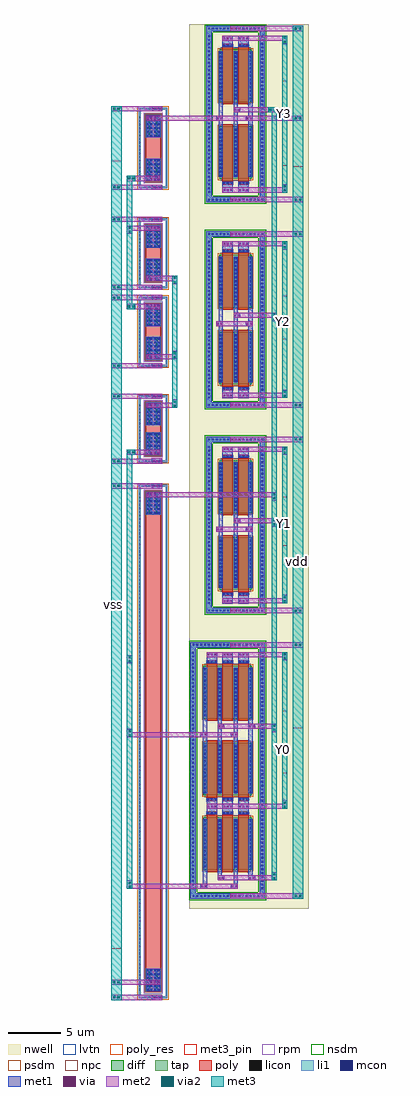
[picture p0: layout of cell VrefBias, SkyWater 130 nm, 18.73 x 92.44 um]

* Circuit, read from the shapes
.subckt VrefBias Y0 Y1 Y2 Y3 vdd vss
XM1 n1 Y0 n2 vdd sky130_fd_pr__pfet_01v8_lvt w=5 l=1 m=9
XM2 n1 Y1 n3 vdd sky130_fd_pr__pfet_01v8_lvt w=5 l=1 m=4
XM3 n1 Y2 n4 vdd sky130_fd_pr__pfet_01v8_lvt w=5 l=1 m=4
XM4 n1 Y3 vdd vdd sky130_fd_pr__pfet_01v8_lvt w=5 l=1 m=4
XR5 n1 vss vss sky130_fd_pr__res_high_po w=1.41 l=43
XR6 n5 n2 vss sky130_fd_pr__res_high_po w=1.41 l=0.7
XR7 n6 n5 vss sky130_fd_pr__res_high_po w=1.41 l=1 m=2
XR8 vdd n6 vss sky130_fd_pr__res_high_po w=1.41 l=2
.ends

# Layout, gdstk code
from math import pi, radians
import gdstk
lib = gdstk.Library(unit=1e-6, precision=5e-09)
def R(c, l, rs):  # rectangles x0, y0, x1, y1
    for r in rs: c.add(gdstk.rectangle(r[:2], r[2:], *l))
def A(c, l, x, y, w, h, nx, ny, dx, dy):  # array of equal rectangles
    R(c, l, [(x+i*dx, y+j*dy, x+i*dx+w, y+j*dy+h) for i in range(nx) for j in range(ny)])
def P(c, l, *ps):  # polygons
    for p in ps: c.add(gdstk.Polygon(p, *l))
nwell = (64, 20)
diff = (65, 20)
tap = (65, 44)
poly_res = (66, 13)
poly = (66, 20)
licon = (66, 44)
li1 = (67, 20)
mcon = (67, 44)
met1 = (68, 20)
via = (68, 44)
met2 = (69, 20)
via2 = (69, 44)
met3_pin = (70, 16)
met3 = (70, 20)
rpm = (86, 20)
nsdm = (93, 44)
psdm = (94, 20)
npc = (95, 20)
lvtn = (125, 44)

res_poly_2 = lib.new_cell('res_poly$2')
R(res_poly_2, tap, [(-1.355,-24.31,1.355,-24.14), (-1.355,-24.14,-1.185,24.14), (1.185,-24.14,1.355,24.14), (-1.355,24.14,1.355,24.31)])
R(res_poly_2, poly_res, [(-0.705,-21.56,0.705,21.56)])
R(res_poly_2, poly, [(-0.705,-23.66,0.705,23.66)])
A(res_poly_2, licon, -0.765, -24.31, 0.17, 0.17, 5, 2, 0.34, 48.45)
A(res_poly_2, licon, -1.355, -23.545, 0.17, 0.17, 1, 139, 0, 0.34)
A(res_poly_2, licon, 1.185, -23.545, 0.17, 0.17, 1, 139, 0, 0.34)
R(res_poly_2, licon, [(-0.45,-23.58,-0.26,-21.58), (0.26,-23.58,0.45,-21.58), (-0.45,21.58,-0.26,23.58), (0.26,21.58,0.45,23.58)])
R(res_poly_2, li1, [(-1.355,-24.31,1.355,-24.14), (-1.355,-24.14,-1.185,24.14), (1.185,-24.14,1.355,24.14), (-0.705,-23.66,0.705,-21.5), (-0.705,21.5,0.705,23.66), (-1.355,24.14,1.355,24.31)])
A(res_poly_2, mcon, -0.625, -23.56, 0.17, 0.17, 4, 6, 0.36, 0.36)
A(res_poly_2, mcon, -0.625, 21.595, 0.17, 0.17, 4, 6, 0.36, 0.36)
R(res_poly_2, met1, [(-0.655,-23.63,0.655,-21.525), (-0.655,21.525,0.655,23.63)])
R(res_poly_2, rpm, [(-0.905,-23.86,0.905,23.86)])
R(res_poly_2, psdm, [(-1.48,-24.435,1.48,24.435)])
R(res_poly_2, npc, [(-0.8,-23.755,0.8,23.755)])

guard_ring_gen = lib.new_cell('guard_ring_gen')
P(guard_ring_gen, tap, [(-0.5,-0.5),(-0.5,15.71),(0,15.71),(0,0),(4.56,0),(4.56,15.71),(-0.5,15.71),(-0.5,16.21),(5.06,16.21),(5.06,-0.5)])
A(guard_ring_gen, licon, -0.325, -0.335, 0.17, 0.17, 15, 2, 0.36, 16.21)
A(guard_ring_gen, licon, -0.335, 0.39, 0.17, 0.17, 1, 42, 0, 0.36)
A(guard_ring_gen, licon, 4.725, 0.39, 0.17, 0.17, 1, 42, 0, 0.36)
P(guard_ring_gen, li1, [(-0.5,-0.5),(-0.5,15.71),(0,15.71),(0,0),(4.56,0),(4.56,15.71),(-0.5,15.71),(-0.5,16.21),(5.06,16.21),(5.06,-0.5)])
A(guard_ring_gen, mcon, -0.325, -0.335, 0.17, 0.17, 15, 2, 0.36, 16.21)
A(guard_ring_gen, mcon, -0.335, 0.39, 0.17, 0.17, 1, 42, 0, 0.36)
A(guard_ring_gen, mcon, 4.725, 0.39, 0.17, 0.17, 1, 42, 0, 0.36)
P(guard_ring_gen, met1, [(-0.5,-0.5),(-0.5,15.71),(0,15.71),(0,0),(4.56,0),(4.56,15.71),(-0.5,15.71),(-0.5,16.21),(5.06,16.21),(5.06,-0.5)])
P(guard_ring_gen, nsdm, [(-0.625,-0.625),(-0.625,15.585),(0.125,15.585),(0.125,0.125),(4.435,0.125),(4.435,15.585),(-0.625,15.585),(-0.625,16.335),(5.185,16.335),(5.185,-0.625)])

pfet = lib.new_cell('pfet')
R(pfet, nwell, [(-0.305,-0.38,3.405,5.72)])
R(pfet, diff, [(0,0,3.1,5)])
R(pfet, poly, [(0.3,-0.2,1.3,5.2), (1.8,-0.2,2.8,5.2), (0.3,5.2,1.3,5.53), (1.8,5.2,2.8,5.53)])
A(pfet, licon, 0.065, 0.255, 0.17, 0.17, 3, 13, 1.4, 0.36)
A(pfet, licon, 0.355, 5.28, 0.17, 0.17, 3, 1, 0.36, 0)
A(pfet, licon, 1.855, 5.28, 0.17, 0.17, 3, 1, 0.36, 0)
A(pfet, li1, 0.065, 0.175, 0.17, 4.65, 3, 1, 1.4, 0)
R(pfet, li1, [(0.275,5.28,1.325,5.45), (1.775,5.28,2.825,5.45)])
A(pfet, mcon, 0.065, 0.255, 0.17, 0.17, 3, 13, 1.4, 0.36)
A(pfet, mcon, 0.355, 5.28, 0.17, 0.17, 3, 1, 0.36, 0)
A(pfet, mcon, 1.855, 5.28, 0.17, 0.17, 3, 1, 0.36, 0)
A(pfet, met1, 0.035, 0.195, 0.23, 4.61, 3, 1, 1.4, 0)
R(pfet, met1, [(0.295,5.25,1.305,5.48), (1.795,5.25,2.805,5.48)])
R(pfet, psdm, [(-0.125,-0.125,3.225,5.125)])
R(pfet, npc, [(0.29,5.19,1.31,5.54), (1.79,5.19,2.81,5.54)])
R(pfet, lvtn, [(0.12,-0.18,2.98,5.18)])

vias_gen_2 = lib.new_cell('vias_gen$2')
R(vias_gen_2, li1, [(0,0,1,0.5)])
R(vias_gen_2, mcon, [(0.235,0.165,0.405,0.335), (0.595,0.165,0.765,0.335)])
R(vias_gen_2, met1, [(0,0,1,0.5)])
A(vias_gen_2, via, 0.105, 0.175, 0.15, 0.15, 3, 1, 0.32, 0)
R(vias_gen_2, met2, [(0,0,1,0.5)])

vias_gen_6 = lib.new_cell('vias_gen$6')
R(vias_gen_6, met2, [(0,0,0.8,0.5)])
R(vias_gen_6, via2, [(0.1,0.15,0.3,0.35), (0.5,0.15,0.7,0.35)])
R(vias_gen_6, met3, [(0,0,0.8,0.5)])

vias_gen = lib.new_cell('vias_gen')
R(vias_gen, met1, [(0,0,1,0.5)])
A(vias_gen, via, 0.105, 0.175, 0.15, 0.15, 3, 1, 0.32, 0)
R(vias_gen, met2, [(0,0,1,0.5)])

vias_gen_4 = lib.new_cell('vias_gen$4')
R(vias_gen_4, met2, [(0,0,1,0.5)])
R(vias_gen_4, via2, [(0.2,0.15,0.4,0.35), (0.6,0.15,0.8,0.35)])
R(vias_gen_4, met3, [(0,0,1,0.5)])

res_poly_4 = lib.new_cell('res_poly$4')
R(res_poly_4, tap, [(-1.355,-3.16,1.355,-2.99), (-1.355,-2.99,-1.185,2.99), (1.185,-2.99,1.355,2.99), (-1.355,2.99,1.355,3.16)])
R(res_poly_4, poly_res, [(-0.705,-0.41,0.705,0.41)])
R(res_poly_4, poly, [(-0.705,-2.51,0.705,2.51)])
A(res_poly_4, licon, -0.765, -3.16, 0.17, 0.17, 5, 2, 0.34, 6.15)
A(res_poly_4, licon, -1.355, -2.295, 0.17, 0.17, 1, 14, 0, 0.34)
A(res_poly_4, licon, 1.185, -2.295, 0.17, 0.17, 1, 14, 0, 0.34)
R(res_poly_4, licon, [(-0.45,-2.43,-0.26,-0.43), (0.26,-2.43,0.45,-0.43), (-0.45,0.43,-0.26,2.43), (0.26,0.43,0.45,2.43)])
R(res_poly_4, li1, [(-1.355,-3.16,1.355,-2.99), (-1.355,-2.99,-1.185,2.99), (1.185,-2.99,1.355,2.99), (-0.705,-2.51,0.705,-0.35), (-0.705,0.35,0.705,2.51), (-1.355,2.99,1.355,3.16)])
A(res_poly_4, mcon, -0.625, -2.41, 0.17, 0.17, 4, 6, 0.36, 0.36)
A(res_poly_4, mcon, -0.625, 0.445, 0.17, 0.17, 4, 6, 0.36, 0.36)
R(res_poly_4, met1, [(-0.655,-2.48,0.655,-0.375), (-0.655,0.375,0.655,2.48)])
R(res_poly_4, rpm, [(-0.905,-2.71,0.905,2.71)])
R(res_poly_4, psdm, [(-1.48,-3.285,1.48,3.285)])
R(res_poly_4, npc, [(-0.8,-2.605,0.8,2.605)])

res_poly_3 = lib.new_cell('res_poly$3')
R(res_poly_3, tap, [(-1.355,-3.81,1.355,-3.64), (-1.355,-3.64,-1.185,3.64), (1.185,-3.64,1.355,3.64), (-1.355,3.64,1.355,3.81)])
R(res_poly_3, poly_res, [(-0.705,-1.06,0.705,1.06)])
R(res_poly_3, poly, [(-0.705,-3.16,0.705,3.16)])
A(res_poly_3, licon, -0.765, -3.81, 0.17, 0.17, 5, 2, 0.34, 7.45)
A(res_poly_3, licon, -1.355, -2.975, 0.17, 0.17, 1, 18, 0, 0.34)
A(res_poly_3, licon, 1.185, -2.975, 0.17, 0.17, 1, 18, 0, 0.34)
R(res_poly_3, licon, [(-0.45,-3.08,-0.26,-1.08), (0.26,-3.08,0.45,-1.08), (-0.45,1.08,-0.26,3.08), (0.26,1.08,0.45,3.08)])
R(res_poly_3, li1, [(-1.355,-3.81,1.355,-3.64), (-1.355,-3.64,-1.185,3.64), (1.185,-3.64,1.355,3.64), (-0.705,-3.16,0.705,-1), (-0.705,1,0.705,3.16), (-1.355,3.64,1.355,3.81)])
A(res_poly_3, mcon, -0.625, -3.06, 0.17, 0.17, 4, 6, 0.36, 0.36)
A(res_poly_3, mcon, -0.625, 1.095, 0.17, 0.17, 4, 6, 0.36, 0.36)
R(res_poly_3, met1, [(-0.655,-3.13,0.655,-1.025), (-0.655,1.025,0.655,3.13)])
R(res_poly_3, rpm, [(-0.905,-3.36,0.905,3.36)])
R(res_poly_3, psdm, [(-1.48,-3.935,1.48,3.935)])
R(res_poly_3, npc, [(-0.8,-3.255,0.8,3.255)])

res_poly = lib.new_cell('res_poly')
R(res_poly, tap, [(-1.355,-3.31,1.355,-3.14), (-1.355,-3.14,-1.185,3.14), (1.185,-3.14,1.355,3.14), (-1.355,3.14,1.355,3.31)])
R(res_poly, poly_res, [(-0.705,-0.56,0.705,0.56)])
R(res_poly, poly, [(-0.705,-2.66,0.705,2.66)])
A(res_poly, licon, -0.765, -3.31, 0.17, 0.17, 5, 2, 0.34, 6.45)
A(res_poly, licon, -1.355, -2.465, 0.17, 0.17, 1, 15, 0, 0.34)
A(res_poly, licon, 1.185, -2.465, 0.17, 0.17, 1, 15, 0, 0.34)
R(res_poly, licon, [(-0.45,-2.58,-0.26,-0.58), (0.26,-2.58,0.45,-0.58), (-0.45,0.58,-0.26,2.58), (0.26,0.58,0.45,2.58)])
R(res_poly, li1, [(-1.355,-3.31,1.355,-3.14), (-1.355,-3.14,-1.185,3.14), (1.185,-3.14,1.355,3.14), (-0.705,-2.66,0.705,-0.5), (-0.705,0.5,0.705,2.66), (-1.355,3.14,1.355,3.31)])
A(res_poly, mcon, -0.625, -2.56, 0.17, 0.17, 4, 6, 0.36, 0.36)
A(res_poly, mcon, -0.625, 0.595, 0.17, 0.17, 4, 6, 0.36, 0.36)
R(res_poly, met1, [(-0.655,-2.63,0.655,-0.525), (-0.655,0.525,0.655,2.63)])
R(res_poly, rpm, [(-0.905,-2.86,0.905,2.86)])
R(res_poly, psdm, [(-1.48,-3.435,1.48,3.435)])
R(res_poly, npc, [(-0.8,-2.755,0.8,2.755)])

vias_gen_3 = lib.new_cell('vias_gen$3')
R(vias_gen_3, met1, [(0,0,0.64,0.5)])
R(vias_gen_3, via, [(0.085,0.175,0.235,0.325), (0.405,0.175,0.555,0.325)])
R(vias_gen_3, met2, [(0,0,0.64,0.5)])

pfet_1 = lib.new_cell('pfet$1')
R(pfet_1, nwell, [(-0.305,-0.38,4.905,5.72)])
R(pfet_1, diff, [(0,0,4.6,5)])
A(pfet_1, poly, 0.3, -0.2, 1, 5.4, 3, 1, 1.5, 0)
A(pfet_1, poly, 0.3, 5.2, 1, 0.33, 3, 1, 1.5, 0)
A(pfet_1, licon, 0.065, 0.255, 0.17, 0.17, 1, 13, 0, 0.36)
A(pfet_1, licon, 1.465, 0.255, 0.17, 0.17, 1, 13, 0, 0.36)
A(pfet_1, licon, 2.965, 0.255, 0.17, 0.17, 1, 13, 0, 0.36)
A(pfet_1, licon, 4.365, 0.255, 0.17, 0.17, 1, 13, 0, 0.36)
A(pfet_1, licon, 0.355, 5.28, 0.17, 0.17, 3, 1, 0.36, 0)
A(pfet_1, licon, 1.855, 5.28, 0.17, 0.17, 3, 1, 0.36, 0)
A(pfet_1, licon, 3.355, 5.28, 0.17, 0.17, 3, 1, 0.36, 0)
A(pfet_1, li1, 0.275, 5.28, 1.05, 0.17, 3, 1, 1.5, 0)
R(pfet_1, li1, [(0.065,0.175,0.235,4.825), (1.465,0.175,1.635,4.825), (2.965,0.175,3.135,4.825), (4.365,0.175,4.535,4.825)])
A(pfet_1, mcon, 0.065, 0.255, 0.17, 0.17, 1, 13, 0, 0.36)
A(pfet_1, mcon, 1.465, 0.255, 0.17, 0.17, 1, 13, 0, 0.36)
A(pfet_1, mcon, 2.965, 0.255, 0.17, 0.17, 1, 13, 0, 0.36)
A(pfet_1, mcon, 4.365, 0.255, 0.17, 0.17, 1, 13, 0, 0.36)
A(pfet_1, mcon, 0.355, 5.28, 0.17, 0.17, 3, 1, 0.36, 0)
A(pfet_1, mcon, 1.855, 5.28, 0.17, 0.17, 3, 1, 0.36, 0)
A(pfet_1, mcon, 3.355, 5.28, 0.17, 0.17, 3, 1, 0.36, 0)
A(pfet_1, met1, 0.295, 5.25, 1.01, 0.23, 3, 1, 1.5, 0)
R(pfet_1, met1, [(0.035,0.195,0.265,4.805), (1.435,0.195,1.665,4.805), (2.935,0.195,3.165,4.805), (4.335,0.195,4.565,4.805)])
R(pfet_1, psdm, [(-0.125,-0.125,4.725,5.125)])
A(pfet_1, npc, 0.29, 5.19, 1.02, 0.35, 3, 1, 1.5, 0)
R(pfet_1, lvtn, [(0.12,-0.18,4.48,5.18)])

guard_ring_gen_1 = lib.new_cell('guard_ring_gen$1')
P(guard_ring_gen_1, tap, [(-0.5,-0.5),(-0.5,23.29),(0,23.29),(0,0),(6.06,0),(6.06,23.29),(-0.5,23.29),(-0.5,23.79),(6.56,23.79),(6.56,-0.5)])
A(guard_ring_gen_1, licon, -0.295, -0.335, 0.17, 0.17, 19, 2, 0.36, 23.79)
A(guard_ring_gen_1, licon, -0.335, 0.4, 0.17, 0.17, 1, 63, 0, 0.36)
A(guard_ring_gen_1, licon, 6.225, 0.4, 0.17, 0.17, 1, 63, 0, 0.36)
P(guard_ring_gen_1, li1, [(-0.5,-0.5),(-0.5,23.29),(0,23.29),(0,0),(6.06,0),(6.06,23.29),(-0.5,23.29),(-0.5,23.79),(6.56,23.79),(6.56,-0.5)])
A(guard_ring_gen_1, mcon, -0.295, -0.335, 0.17, 0.17, 19, 2, 0.36, 23.79)
A(guard_ring_gen_1, mcon, -0.335, 0.4, 0.17, 0.17, 1, 63, 0, 0.36)
A(guard_ring_gen_1, mcon, 6.225, 0.4, 0.17, 0.17, 1, 63, 0, 0.36)
P(guard_ring_gen_1, met1, [(-0.5,-0.5),(-0.5,23.29),(0,23.29),(0,0),(6.06,0),(6.06,23.29),(-0.5,23.29),(-0.5,23.79),(6.56,23.79),(6.56,-0.5)])
P(guard_ring_gen_1, nsdm, [(-0.625,-0.625),(-0.625,23.165),(0.125,23.165),(0.125,0.125),(5.935,0.125),(5.935,23.165),(-0.625,23.165),(-0.625,23.915),(6.685,23.915),(6.685,-0.625)])

vrefbias = lib.new_cell('VrefBias')
R(vrefbias, nwell, [(183.43,126.05,194.74,209.87)])
R(vrefbias, met3_pin, [(176.005,122.28,177.005,196.925), (192.205,138.925,192.705,144.835), (193.205,143.18,194.205,196.385), (192.205,160.435,192.705,165.085), (192.205,179.99,192.705,184.155), (192.205,196.425,192.705,204.495)])
vrefbias.add(gdstk.FlexPath([(186.4,207.275),(186.4,195.385)], 0.4, ends="flush", simple_path=True, layer=68, datatype=20))  # met1
vrefbias.add(gdstk.FlexPath([(187.8,207.275),(187.8,195.385)], 0.4, ends="flush", simple_path=True, layer=68, datatype=20))  # met1
vrefbias.add(gdstk.FlexPath([(189.2,207.275),(189.2,195.385)], 0.4, ends="flush", simple_path=True, layer=68, datatype=20))  # met1
vrefbias.add(gdstk.FlexPath([(187.05,207.72),(187.05,208.77)], 1, ends="flush", simple_path=True, layer=68, datatype=20))  # met1
vrefbias.add(gdstk.FlexPath([(188.55,207.72),(188.55,208.77)], 1, ends="flush", simple_path=True, layer=68, datatype=20))  # met1
vrefbias.add(gdstk.FlexPath([(187.05,193.89),(187.05,194.94)], 1, ends="flush", simple_path=True, layer=68, datatype=20))  # met1
vrefbias.add(gdstk.FlexPath([(188.55,193.89),(188.55,194.94)], 1, ends="flush", simple_path=True, layer=68, datatype=20))  # met1
vrefbias.add(gdstk.FlexPath([(186.4,187.815),(186.4,175.925)], 0.4, ends="flush", simple_path=True, layer=68, datatype=20))  # met1
vrefbias.add(gdstk.FlexPath([(187.8,187.815),(187.8,175.925)], 0.4, ends="flush", simple_path=True, layer=68, datatype=20))  # met1
vrefbias.add(gdstk.FlexPath([(189.2,187.815),(189.2,175.925)], 0.4, ends="flush", simple_path=True, layer=68, datatype=20))  # met1
vrefbias.add(gdstk.FlexPath([(187.05,188.26),(187.05,189.31)], 1, ends="flush", simple_path=True, layer=68, datatype=20))  # met1
vrefbias.add(gdstk.FlexPath([(188.55,188.26),(188.55,189.31)], 1, ends="flush", simple_path=True, layer=68, datatype=20))  # met1
vrefbias.add(gdstk.FlexPath([(187.05,174.43),(187.05,175.48)], 1, ends="flush", simple_path=True, layer=68, datatype=20))  # met1
vrefbias.add(gdstk.FlexPath([(188.55,174.43),(188.55,175.48)], 1, ends="flush", simple_path=True, layer=68, datatype=20))  # met1
vrefbias.add(gdstk.FlexPath([(186.4,168.355),(186.4,156.465)], 0.4, ends="flush", simple_path=True, layer=68, datatype=20))  # met1
vrefbias.add(gdstk.FlexPath([(187.8,168.355),(187.8,156.465)], 0.4, ends="flush", simple_path=True, layer=68, datatype=20))  # met1
vrefbias.add(gdstk.FlexPath([(189.2,168.355),(189.2,156.465)], 0.4, ends="flush", simple_path=True, layer=68, datatype=20))  # met1
vrefbias.add(gdstk.FlexPath([(187.05,168.8),(187.05,169.85)], 1, ends="flush", simple_path=True, layer=68, datatype=20))  # met1
vrefbias.add(gdstk.FlexPath([(188.55,168.8),(188.55,169.85)], 1, ends="flush", simple_path=True, layer=68, datatype=20))  # met1
vrefbias.add(gdstk.FlexPath([(188.55,154.97),(188.55,156.02)], 1, ends="flush", simple_path=True, layer=68, datatype=20))  # met1
vrefbias.add(gdstk.FlexPath([(185.55,149.34),(185.55,150.39)], 1, ends="flush", simple_path=True, layer=68, datatype=20))  # met1
vrefbias.add(gdstk.FlexPath([(187.05,149.34),(187.05,150.39)], 1, ends="flush", simple_path=True, layer=68, datatype=20))  # met1
vrefbias.add(gdstk.FlexPath([(188.55,149.34),(188.55,150.39)], 1, ends="flush", simple_path=True, layer=68, datatype=20))  # met1
vrefbias.add(gdstk.FlexPath([(185.55,135),(185.55,136.56)], 1, ends="flush", simple_path=True, layer=68, datatype=20))  # met1
vrefbias.add(gdstk.FlexPath([(187.05,135),(187.05,136.565)], 1, ends="flush", simple_path=True, layer=68, datatype=20))  # met1
vrefbias.add(gdstk.FlexPath([(188.55,135),(188.55,136.565)], 1, ends="flush", simple_path=True, layer=68, datatype=20))  # met1
vrefbias.add(gdstk.FlexPath([(184.9,148.895),(184.9,137.005)], 0.4, ends="flush", simple_path=True, layer=68, datatype=20))  # met1
vrefbias.add(gdstk.FlexPath([(186.3,148.895),(186.3,137.005)], 0.4, ends="flush", simple_path=True, layer=68, datatype=20))  # met1
vrefbias.add(gdstk.FlexPath([(187.8,148.895),(187.8,137.005)], 0.4, ends="flush", simple_path=True, layer=68, datatype=20))  # met1
vrefbias.add(gdstk.FlexPath([(189.2,148.895),(189.2,137.005)], 0.4, ends="flush", simple_path=True, layer=68, datatype=20))  # met1
vrefbias.add(gdstk.FlexPath([(184.9,134.555),(184.9,127.95)], 0.4, ends="flush", simple_path=True, layer=68, datatype=20))  # met1
vrefbias.add(gdstk.FlexPath([(187.8,134.555),(187.8,127.95)], 0.4, ends="flush", simple_path=True, layer=68, datatype=20))  # met1
vrefbias.add(gdstk.FlexPath([(186.3,134.555),(186.3,128.75)], 0.4, ends="flush", simple_path=True, layer=68, datatype=20))  # met1
vrefbias.add(gdstk.FlexPath([(189.2,134.555),(189.2,128.75)], 0.4, ends="flush", simple_path=True, layer=68, datatype=20))  # met1
vrefbias.add(gdstk.FlexPath([(187.05,154.97),(187.05,156.02)], 1, ends="flush", simple_path=True, layer=68, datatype=20))  # met1
vrefbias.add(gdstk.FlexPath([(180.87,166.125),(176.005,166.125)], 0.5, ends="flush", simple_path=True, layer=69, datatype=20))  # met2
vrefbias.add(gdstk.FlexPath([(180.64,119.115),(176.005,119.115)], 0.5, ends="flush", simple_path=True, layer=69, datatype=20))  # met2
vrefbias.add(gdstk.FlexPath([(191.705,182.28),(187.6,182.28)], 0.5, ends="flush", simple_path=True, layer=69, datatype=20))  # met2
vrefbias.add(gdstk.FlexPath([(194.205,200.94),(179.33,200.94)], 0.5, ends="flush", simple_path=True, layer=69, datatype=20))  # met2
vrefbias.add(gdstk.FlexPath([(192.705,208.52),(186.55,208.52)], 0.5, ends="flush", simple_path=True, layer=69, datatype=20))  # met2
vrefbias.add(gdstk.FlexPath([(192.705,194.16),(186.55,194.16)], 0.5, ends="flush", simple_path=True, layer=69, datatype=20))  # met2
vrefbias.add(gdstk.FlexPath([(189.4,181.48),(185.945,181.48)], 0.5, ends="flush", simple_path=True, layer=69, datatype=20))  # met2
vrefbias.add(gdstk.FlexPath([(192.705,189.06),(186.55,189.06)], 0.5, ends="flush", simple_path=True, layer=69, datatype=20))  # met2
vrefbias.add(gdstk.FlexPath([(192.705,174.7),(186.55,174.7)], 0.5, ends="flush", simple_path=True, layer=69, datatype=20))  # met2
vrefbias.add(gdstk.FlexPath([(191.705,162.82),(187.6,162.82)], 0.5, ends="flush", simple_path=True, layer=69, datatype=20))  # met2
vrefbias.add(gdstk.FlexPath([(189.4,162.02),(185.945,162.02)], 0.5, ends="flush", simple_path=True, layer=69, datatype=20))  # met2
vrefbias.add(gdstk.FlexPath([(192.705,169.6),(186.55,169.6)], 0.5, ends="flush", simple_path=True, layer=69, datatype=20))  # met2
vrefbias.add(gdstk.FlexPath([(192.705,155.24),(186.55,155.24)], 0.5, ends="flush", simple_path=True, layer=69, datatype=20))  # met2
vrefbias.add(gdstk.FlexPath([(182.285,178.36),(179.36,178.36)], 0.5, ends="flush", simple_path=True, layer=69, datatype=20))  # met2
vrefbias.add(gdstk.FlexPath([(188,142.56),(177.505,142.56)], 0.5, ends="flush", simple_path=True, layer=69, datatype=20))  # met2
vrefbias.add(gdstk.FlexPath([(192.705,150.14),(185.05,150.14)], 0.5, ends="flush", simple_path=True, layer=69, datatype=20))  # met2
vrefbias.add(gdstk.FlexPath([(192.705,135.78),(185.05,135.775)], 0.5, ends="flush", simple_path=True, layer=69, datatype=20))  # met2
vrefbias.add(gdstk.FlexPath([(191.705,143.36),(186.1,143.36)], 0.5, ends="flush", simple_path=True, layer=69, datatype=20))  # met2
vrefbias.add(gdstk.FlexPath([(188,128.2),(177.505,128.2)], 0.5, ends="flush", simple_path=True, layer=69, datatype=20))  # met2
vrefbias.add(gdstk.FlexPath([(191.705,129),(186.1,129)], 0.5, ends="flush", simple_path=True, layer=69, datatype=20))  # met2
vrefbias.add(gdstk.FlexPath([(177.505,195.245),(180.64,195.245)], 0.5, ends="flush", simple_path=True, layer=69, datatype=20))  # met2
vrefbias.add(gdstk.FlexPath([(177.505,190.535),(180.64,190.535)], 0.5, ends="flush", simple_path=True, layer=69, datatype=20))  # met2
vrefbias.add(gdstk.FlexPath([(177.505,183.11),(180.64,183.11)], 0.5, ends="flush", simple_path=True, layer=69, datatype=20))  # met2
vrefbias.add(gdstk.FlexPath([(179.33,185.775),(182.285,185.775)], 0.5, ends="flush", simple_path=True, layer=69, datatype=20))  # met2
vrefbias.add(gdstk.FlexPath([(182.285,173.76),(179.33,173.76)], 0.5, ends="flush", simple_path=True, layer=69, datatype=20))  # met2
vrefbias.add(gdstk.FlexPath([(180.64,169.305),(177.505,169.305)], 0.5, ends="flush", simple_path=True, layer=69, datatype=20))  # met2
vrefbias.add(gdstk.FlexPath([(191.705,165.285),(179.33,165.285)], 0.5, ends="flush", simple_path=True, layer=69, datatype=20))  # met2
vrefbias.add(gdstk.FlexPath([(194.205,209.445),(187.3,209.445)], 0.5, ends="flush", simple_path=True, layer=69, datatype=20))  # met2
vrefbias.add(gdstk.FlexPath([(194.205,193.235),(187.3,193.235)], 0.5, ends="flush", simple_path=True, layer=69, datatype=20))  # met2
vrefbias.add(gdstk.FlexPath([(194.205,189.985),(187.3,189.985)], 0.5, ends="flush", simple_path=True, layer=69, datatype=20))  # met2
vrefbias.add(gdstk.FlexPath([(194.205,173.775),(187.3,173.775)], 0.5, ends="flush", simple_path=True, layer=69, datatype=20))  # met2
vrefbias.add(gdstk.FlexPath([(194.205,170.525),(187.3,170.525)], 0.5, ends="flush", simple_path=True, layer=69, datatype=20))  # met2
vrefbias.add(gdstk.FlexPath([(194.205,154.315),(187.3,154.315)], 0.5, ends="flush", simple_path=True, layer=69, datatype=20))  # met2
vrefbias.add(gdstk.FlexPath([(194.205,151.065),(187.3,151.065)], 0.5, ends="flush", simple_path=True, layer=69, datatype=20))  # met2
vrefbias.add(gdstk.FlexPath([(194.205,127.275),(187.3,127.275)], 0.5, ends="flush", simple_path=True, layer=69, datatype=20))  # met2
vrefbias.add(gdstk.FlexPath([(180.87,201.85),(176.005,201.85)], 0.5, ends="flush", simple_path=True, layer=69, datatype=20))  # met2
vrefbias.add(gdstk.FlexPath([(180.87,194.4),(176.005,194.4)], 0.5, ends="flush", simple_path=True, layer=69, datatype=20))  # met2
vrefbias.add(gdstk.FlexPath([(180.87,191.38),(176.005,191.38)], 0.5, ends="flush", simple_path=True, layer=69, datatype=20))  # met2
vrefbias.add(gdstk.FlexPath([(180.87,184.93),(176.005,184.93)], 0.5, ends="flush", simple_path=True, layer=69, datatype=20))  # met2
vrefbias.add(gdstk.FlexPath([(180.87,183.955),(176.005,183.955)], 0.5, ends="flush", simple_path=True, layer=69, datatype=20))  # met2
vrefbias.add(gdstk.FlexPath([(180.87,177.505),(176.005,177.505)], 0.5, ends="flush", simple_path=True, layer=69, datatype=20))  # met2
vrefbias.add(gdstk.FlexPath([(180.87,174.61),(176.005,174.61)], 0.5, ends="flush", simple_path=True, layer=69, datatype=20))  # met2
vrefbias.add(gdstk.FlexPath([(180.87,168.46),(176.005,168.46)], 0.5, ends="flush", simple_path=True, layer=69, datatype=20))  # met2
vrefbias.add(gdstk.FlexPath([(180.87,117.68),(176.005,117.68)], 0.5, ends="flush", simple_path=True, layer=69, datatype=20))  # met2
vrefbias.add(gdstk.FlexPath([(191.705,201.74),(187.6,201.74)], 0.5, ends="flush", simple_path=True, layer=69, datatype=20))  # met2
vrefbias.add(gdstk.FlexPath([(177.755,195.495),(177.755,182.86)], 0.5, ends="flush", simple_path=True, layer=70, datatype=20))  # met3
vrefbias.add(gdstk.FlexPath([(177.755,169.555),(177.755,127.95)], 0.5, ends="flush", simple_path=True, layer=70, datatype=20))  # met3
vrefbias.add(gdstk.FlexPath([(182.035,186.025),(182.035,173.51)], 0.5, ends="flush", simple_path=True, layer=70, datatype=20))  # met3
vrefbias.add(gdstk.FlexPath([(191.455,201.99),(191.455,128.75)], 0.5, ends="flush", simple_path=True, layer=70, datatype=20))  # met3
vrefbias.add(gdstk.FlexPath([(193.705,209.695),(193.705,127.025)], 1, ends="flush", simple_path=True, layer=70, datatype=20))  # met3
vrefbias.add(gdstk.FlexPath([(176.505,202.1),(176.505,117.43)], 1, ends="flush", simple_path=True, layer=70, datatype=20))  # met3
vrefbias.add(gdstk.FlexPath([(192.455,208.77),(192.455,193.91)], 0.5, ends="flush", simple_path=True, layer=70, datatype=20))  # met3
vrefbias.add(gdstk.FlexPath([(192.455,189.31),(192.455,174.45)], 0.5, ends="flush", simple_path=True, layer=70, datatype=20))  # met3
vrefbias.add(gdstk.FlexPath([(192.455,169.85),(192.455,154.99)], 0.5, ends="flush", simple_path=True, layer=70, datatype=20))  # met3
vrefbias.add(gdstk.FlexPath([(192.455,150.39),(192.455,135.53)], 0.5, ends="flush", simple_path=True, layer=70, datatype=20))  # met3
vrefbias.add(gdstk.Reference(res_poly_2, (179.985,141.905), x_reflection=True))
vrefbias.add(gdstk.Reference(guard_ring_gen, (185.52,154.565)))
vrefbias.add(gdstk.Reference(pfet, (189.35,163.55), rotation=pi, x_reflection=True))
vrefbias.add(gdstk.Reference(vias_gen_2, (179.87,177.255)))
vrefbias.add(gdstk.Reference(vias_gen_6, (191.205,182.53), rotation=3*pi/2))
vrefbias.add(gdstk.Reference(vias_gen_2, (179.87,174.37)))
vrefbias.add(gdstk.Reference(vias_gen_2, (179.87,165.875)))
vrefbias.add(gdstk.Reference(vias_gen, (186.55,193.91)))
vrefbias.add(gdstk.Reference(vias_gen_4, (176.005,165.875)))
vrefbias.add(gdstk.Reference(pfet, (186.25,200.19), x_reflection=True))
vrefbias.add(gdstk.Reference(vias_gen, (186.55,174.45)))
vrefbias.add(gdstk.Reference(pfet, (186.25,180.73), x_reflection=True))
vrefbias.add(gdstk.Reference(res_poly_4, (179.985,171.535)))
vrefbias.add(gdstk.Reference(res_poly_3, (179.985,198.125)))
vrefbias.add(gdstk.Reference(res_poly, (179.985,180.73)))
vrefbias.add(gdstk.Reference(res_poly, (179.985,188.155)))
vrefbias.add(gdstk.Reference(vias_gen, (180.33,201.19), rotation=pi))
vrefbias.add(gdstk.Reference(vias_gen, (180.64,190.785), rotation=pi))
vrefbias.add(gdstk.Reference(vias_gen, (180.33,178.61), rotation=pi))
vrefbias.add(gdstk.Reference(vias_gen, (180.64,195.495), rotation=pi))
vrefbias.add(gdstk.Reference(vias_gen, (180.64,183.36), rotation=pi))
vrefbias.add(gdstk.Reference(guard_ring_gen, (185.52,174.025)))
vrefbias.add(gdstk.Reference(vias_gen, (188.05,188.81)))
vrefbias.add(gdstk.Reference(vias_gen, (186.55,188.81)))
vrefbias.add(gdstk.Reference(vias_gen, (188.05,174.45)))
vrefbias.add(gdstk.Reference(guard_ring_gen, (185.52,193.485)))
vrefbias.add(gdstk.Reference(vias_gen, (180.33,186.025), rotation=pi))
vrefbias.add(gdstk.Reference(vias_gen, (180.33,174.01), rotation=pi))
vrefbias.add(gdstk.Reference(vias_gen, (188.05,208.27)))
vrefbias.add(gdstk.Reference(vias_gen, (180.64,169.555), rotation=pi))
vrefbias.add(gdstk.Reference(vias_gen, (186.55,208.27)))
vrefbias.add(gdstk.Reference(vias_gen, (180.33,165.535), rotation=pi))
vrefbias.add(gdstk.Reference(vias_gen_6, (178.305,169.555), rotation=pi))
vrefbias.add(gdstk.Reference(vias_gen_3, (187.6,182.03)))
vrefbias.add(gdstk.Reference(vias_gen_6, (191.705,201.99), rotation=pi))
vrefbias.add(gdstk.Reference(vias_gen_6, (178.305,183.36), rotation=pi))
vrefbias.add(gdstk.Reference(vias_gen, (188.05,193.91)))
vrefbias.add(gdstk.Reference(vias_gen_3, (185.96,181.23)))
vrefbias.add(gdstk.Reference(vias_gen_3, (187.6,201.49)))
vrefbias.add(gdstk.Reference(vias_gen_3, (185.96,200.69)))
vrefbias.add(gdstk.Reference(vias_gen_3, (188.76,200.69)))
vrefbias.add(gdstk.Reference(vias_gen_3, (188.76,181.23)))
vrefbias.add(gdstk.Reference(vias_gen_6, (177.505,190.785), rotation=3*pi/2))
vrefbias.add(gdstk.Reference(pfet, (189.35,183.01), rotation=pi, x_reflection=True))
vrefbias.add(gdstk.Reference(vias_gen_2, (179.87,201.6)))
vrefbias.add(gdstk.Reference(vias_gen_6, (178.305,195.495), rotation=pi))
vrefbias.add(gdstk.Reference(pfet, (189.35,202.47), rotation=pi, x_reflection=True))
vrefbias.add(gdstk.Reference(vias_gen, (188.05,169.35)))
vrefbias.add(gdstk.Reference(vias_gen, (186.55,169.35)))
vrefbias.add(gdstk.Reference(vias_gen_2, (179.87,191.13)))
vrefbias.add(gdstk.Reference(vias_gen_6, (181.785,186.025), rotation=3*pi/2))
vrefbias.add(gdstk.Reference(vias_gen_6, (181.785,178.91), rotation=3*pi/2))
vrefbias.add(gdstk.Reference(vias_gen_6, (181.785,174.31), rotation=3*pi/2))
vrefbias.add(gdstk.Reference(vias_gen_6, (191.205,165.535), rotation=3*pi/2))
vrefbias.add(gdstk.Reference(vias_gen_6, (192.205,208.77), rotation=3*pi/2))
vrefbias.add(gdstk.Reference(vias_gen_6, (192.205,194.71), rotation=3*pi/2))
vrefbias.add(gdstk.Reference(vias_gen_6, (192.205,189.31), rotation=3*pi/2))
vrefbias.add(gdstk.Reference(vias_gen_6, (192.205,175.25), rotation=3*pi/2))
vrefbias.add(gdstk.Reference(vias_gen_6, (192.205,169.85), rotation=3*pi/2))
vrefbias.add(gdstk.Reference(vias_gen, (187.3,209.195)))
vrefbias.add(gdstk.Reference(vias_gen_4, (194.205,209.695), rotation=pi))
vrefbias.add(gdstk.Reference(vias_gen, (187.3,192.985)))
vrefbias.add(gdstk.Reference(vias_gen_4, (194.205,193.485), rotation=pi))
vrefbias.add(gdstk.Reference(vias_gen, (187.3,189.735)))
vrefbias.add(gdstk.Reference(vias_gen_4, (194.205,190.235), rotation=pi))
vrefbias.add(gdstk.Reference(vias_gen, (187.3,173.525)))
vrefbias.add(gdstk.Reference(vias_gen_4, (194.205,174.025), rotation=pi))
vrefbias.add(gdstk.Reference(vias_gen, (187.3,170.275)))
vrefbias.add(gdstk.Reference(vias_gen_4, (194.205,170.775), rotation=pi))
vrefbias.add(gdstk.Reference(vias_gen_4, (177.005,202.1), rotation=pi))
vrefbias.add(gdstk.Reference(vias_gen_2, (179.87,194.15)))
vrefbias.add(gdstk.Reference(vias_gen_4, (177.005,194.65), rotation=pi))
vrefbias.add(gdstk.Reference(vias_gen_4, (177.005,191.63), rotation=pi))
vrefbias.add(gdstk.Reference(vias_gen_2, (179.87,184.68)))
vrefbias.add(gdstk.Reference(vias_gen_4, (177.005,185.18), rotation=pi))
vrefbias.add(gdstk.Reference(vias_gen_2, (179.87,183.705)))
vrefbias.add(gdstk.Reference(vias_gen_4, (177.005,184.205), rotation=pi))
vrefbias.add(gdstk.Reference(vias_gen_4, (177.005,177.755), rotation=pi))
vrefbias.add(gdstk.Reference(vias_gen_2, (179.87,174.36)))
vrefbias.add(gdstk.Reference(vias_gen_4, (177.005,174.86), rotation=pi))
vrefbias.add(gdstk.Reference(vias_gen_2, (179.87,168.22)))
vrefbias.add(gdstk.Reference(vias_gen_2, (179.87,168.21)))
vrefbias.add(gdstk.Reference(vias_gen_4, (177.005,168.71), rotation=pi))
vrefbias.add(gdstk.Reference(vias_gen_4, (194.205,201.19), rotation=pi))
vrefbias.add(gdstk.Reference(vias_gen_6, (191.205,129.55), rotation=3*pi/2))
vrefbias.add(gdstk.Reference(pfet_1, (184.75,141.81), x_reflection=True))
vrefbias.add(gdstk.Reference(pfet_1, (189.35,144.09), rotation=pi, x_reflection=True))
vrefbias.add(gdstk.Reference(guard_ring_gen_1, (184.02,127.525)))
vrefbias.add(gdstk.Reference(vias_gen, (179.64,118.865)))
vrefbias.add(gdstk.Reference(vias_gen_4, (176.005,118.865)))
vrefbias.add(gdstk.Reference(vias_gen, (188.05,154.99)))
vrefbias.add(gdstk.Reference(vias_gen_6, (192.205,155.79), rotation=3*pi/2))
vrefbias.add(gdstk.Reference(vias_gen_6, (192.205,150.39), rotation=3*pi/2))
vrefbias.add(gdstk.Reference(vias_gen_6, (192.205,136.33), rotation=3*pi/2))
vrefbias.add(gdstk.Reference(vias_gen_3, (187.6,162.57)))
vrefbias.add(gdstk.Reference(vias_gen_3, (185.96,161.77)))
vrefbias.add(gdstk.Reference(vias_gen_3, (188.76,161.77)))
vrefbias.add(gdstk.Reference(vias_gen_6, (177.505,149.305), rotation=pi/2, x_reflection=True))
vrefbias.add(gdstk.Reference(pfet_1, (189.35,129.75), rotation=pi, x_reflection=True))
vrefbias.add(gdstk.Reference(vias_gen_6, (177.505,142.31), rotation=pi/2, x_reflection=True))
vrefbias.add(gdstk.Reference(vias_gen, (188.05,149.89)))
vrefbias.add(gdstk.Reference(vias_gen, (186.55,149.89)))
vrefbias.add(gdstk.Reference(vias_gen, (185.05,149.89)))
vrefbias.add(gdstk.Reference(vias_gen_3, (186.1,143.11)))
vrefbias.add(gdstk.Reference(vias_gen, (187.3,154.065)))
vrefbias.add(gdstk.Reference(vias_gen_4, (194.205,154.565), rotation=pi))
vrefbias.add(gdstk.Reference(vias_gen, (187.3,150.815)))
vrefbias.add(gdstk.Reference(vias_gen_4, (194.205,151.315), rotation=pi))
vrefbias.add(gdstk.Reference(vias_gen, (187.3,127.025)))
vrefbias.add(gdstk.Reference(vias_gen_4, (194.205,127.525), rotation=pi))
vrefbias.add(gdstk.Reference(vias_gen_3, (187.36,142.31)))
vrefbias.add(gdstk.Reference(vias_gen_3, (184.46,142.31)))
vrefbias.add(gdstk.Reference(vias_gen_3, (189,143.11)))
vrefbias.add(gdstk.Reference(vias_gen, (188.05,135.525)))
vrefbias.add(gdstk.Reference(vias_gen, (186.55,135.525)))
vrefbias.add(gdstk.Reference(vias_gen, (185.05,135.525)))
vrefbias.add(gdstk.Reference(vias_gen_3, (186.1,128.75)))
vrefbias.add(gdstk.Reference(vias_gen_3, (187.36,127.95)))
vrefbias.add(gdstk.Reference(vias_gen_3, (184.46,127.95)))
vrefbias.add(gdstk.Reference(vias_gen_3, (189,128.75)))
vrefbias.add(gdstk.Reference(vias_gen, (186.55,154.99)))
vrefbias.add(gdstk.Reference(pfet, (186.25,161.27), x_reflection=True))
vrefbias.add(gdstk.Reference(vias_gen_6, (177.505,127.95), rotation=pi/2, x_reflection=True))
vrefbias.add(gdstk.Reference(vias_gen_6, (191.205,163.07), rotation=3*pi/2))
vrefbias.add(gdstk.Reference(vias_gen_2, (179.87,117.43)))
vrefbias.add(gdstk.Reference(vias_gen_4, (176.005,117.43)))
vrefbias.add(gdstk.Reference(vias_gen_6, (191.205,143.61), rotation=3*pi/2))
vrefbias.add(gdstk.Label('vdd', (193.655,158.985), layer=70, texttype=16))
vrefbias.add(gdstk.Label('vss', (176.24,154.845), layer=70, texttype=16))
vrefbias.add(gdstk.Label('Y3', (192.385,201.39), layer=70, texttype=16))
vrefbias.add(gdstk.Label('Y2', (192.35,181.71), layer=70, texttype=16))
vrefbias.add(gdstk.Label('Y1', (192.385,162.58), layer=70, texttype=16))
vrefbias.add(gdstk.Label('Y0', (192.32,141.11), layer=70, texttype=16))

lib.write_gds('VrefBias.gds')
